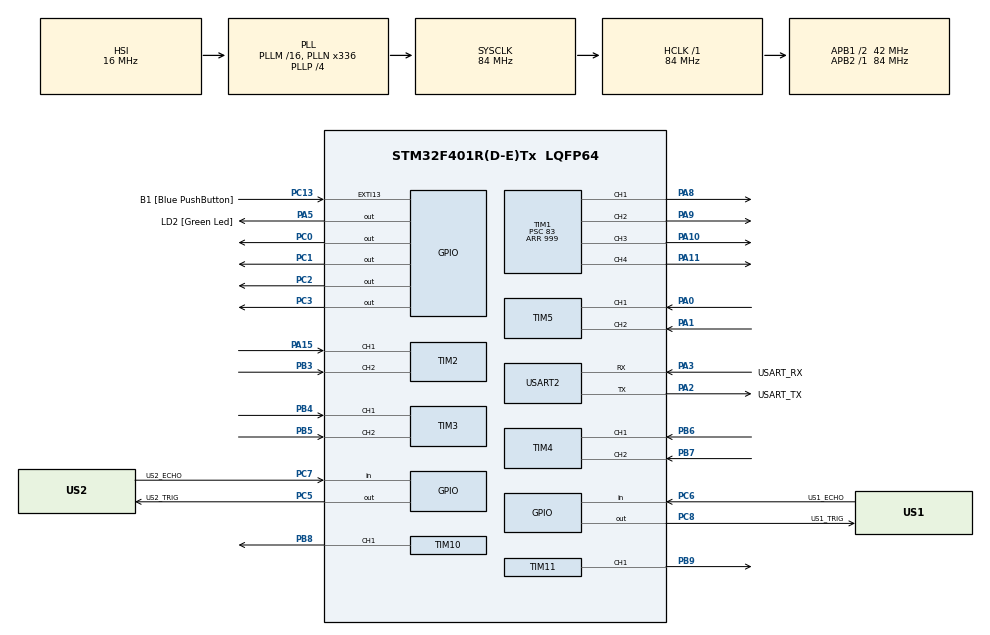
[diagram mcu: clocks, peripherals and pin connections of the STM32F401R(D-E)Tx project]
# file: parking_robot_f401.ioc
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Mcu.Family=STM32F4
Mcu.Name=STM32F401R(D-E)Tx
Mcu.Package=LQFP64
NVIC.PriorityGroup=NVIC_PRIORITYGROUP_4
PA0-WKUP.Signal=S_TIM5_CH1
PA1.Signal=S_TIM5_CH2
PA10.Signal=S_TIM1_CH3
PA11.Signal=S_TIM1_CH4
PA13.GPIO_Label=TMS
PA13.Mode=Serial_Wire
PA13.Signal=SYS_JTMS-SWDIO
PA14.GPIO_Label=TCK
PA14.Mode=Serial_Wire
PA14.Signal=SYS_JTCK-SWCLK
PA15.Signal=S_TIM2_CH1_ETR
PA2.GPIO_Label=USART_TX
PA2.GPIO_Mode=GPIO_MODE_AF_PP
PA2.GPIO_PuPd=GPIO_NOPULL
PA2.GPIO_Speed=GPIO_SPEED_FREQ_LOW
PA2.Mode=Asynchronous
PA2.Signal=USART2_TX
PA3.GPIO_Label=USART_RX
PA3.GPIO_Mode=GPIO_MODE_AF_PP
PA3.GPIO_PuPd=GPIO_NOPULL
PA3.GPIO_Speed=GPIO_SPEED_FREQ_LOW
PA3.Mode=Asynchronous
PA3.Signal=USART2_RX
PA5.GPIO_Label=LD2 [Green Led]
PA5.GPIO_Mode=GPIO_MODE_OUTPUT_PP
PA5.GPIO_PuPd=GPIO_NOPULL
PA5.GPIO_Speed=GPIO_SPEED_FREQ_LOW
PA5.Signal=GPIO_Output
PA8.Signal=S_TIM1_CH1
PA9.Signal=S_TIM1_CH2
PB3.Signal=S_TIM2_CH2
PB4.Signal=S_TIM3_CH1
PB5.Signal=S_TIM3_CH2
PB6.Signal=S_TIM4_CH1
PB7.Signal=S_TIM4_CH2
PB8.Signal=S_TIM10_CH1
PB9.Signal=S_TIM11_CH1
PC0.Signal=GPIO_Output
PC1.Signal=GPIO_Output
PC13-ANTI_TAMP.GPIO_Label=B1 [Blue PushButton]
PC13-ANTI_TAMP.GPIO_ModeDefaultEXTI=GPIO_MODE_IT_FALLING
PC13-ANTI_TAMP.GPIO_PuPd=GPIO_NOPULL
PC13-ANTI_TAMP.Signal=GPXTI13
PC14-OSC32_IN.Mode=LSE-External-Oscillator
PC14-OSC32_IN.Signal=RCC_OSC32_IN
PC15-OSC32_OUT.Mode=LSE-External-Oscillator
PC15-OSC32_OUT.Signal=RCC_OSC32_OUT
PC2.Signal=GPIO_Output
PC3.Signal=GPIO_Output
PC5.GPIO_Label=US2_TRIG
PC5.Signal=GPIO_Output
PC6.GPIO_Label=US1_ECHO
PC6.Signal=GPIO_Input
PC7.GPIO_Label=US2_ECHO
PC7.Signal=GPIO_Input
PC8.GPIO_Label=US1_TRIG
PC8.Signal=GPIO_Output
PH0\ -\ OSC_IN.Mode=HSE-External-Clock-Source
PH0\ -\ OSC_IN.Signal=RCC_OSC_IN
PH1\ -\ OSC_OUT.Mode=HSE-External-Clock-Source
PH1\ -\ OSC_OUT.Signal=RCC_OSC_OUT
ProjectManager.HeapSize=0x200
ProjectManager.StackSize=0x400
ProjectManager.TargetToolchain=CMake
RCC.48MHZClocksFreq_Value=48000000
RCC.AHBFreq_Value=84000000
RCC.APB1CLKDivider=RCC_HCLK_DIV2
RCC.APB1Freq_Value=42000000
RCC.APB1TimFreq_Value=84000000
RCC.APB2Freq_Value=84000000
RCC.APB2TimFreq_Value=84000000
RCC.CortexFreq_Value=84000000
RCC.HCLKFreq_Value=84000000
RCC.HSE_VALUE=8000000
RCC.HSI_VALUE=16000000
RCC.PLLN=336
RCC.PLLP=RCC_PLLP_DIV4
RCC.PLLQ=7
RCC.SYSCLKFreq_VALUE=84000000
RCC.SYSCLKSource=RCC_SYSCLKSOURCE_PLLCLK
RCC.VCOOutputFreq_Value=336000000
SH.S_TIM10_CH1.0=TIM10_CH1,PWM Generation1 CH1
SH.S_TIM11_CH1.0=TIM11_CH1,PWM Generation1 CH1
SH.S_TIM1_CH1.0=TIM1_CH1,PWM Generation1 CH1
SH.S_TIM1_CH2.0=TIM1_CH2,PWM Generation2 CH2
SH.S_TIM1_CH3.0=TIM1_CH3,PWM Generation3 CH3
SH.S_TIM1_CH4.0=TIM1_CH4,PWM Generation4 CH4
SH.S_TIM2_CH1_ETR.0=TIM2_CH1,Encoder_Interface
SH.S_TIM2_CH2.0=TIM2_CH2,Encoder_Interface
SH.S_TIM3_CH1.0=TIM3_CH1,Encoder_Interface
SH.S_TIM3_CH2.0=TIM3_CH2,Encoder_Interface
SH.S_TIM4_CH1.0=TIM4_CH1,Encoder_Interface
SH.S_TIM4_CH2.0=TIM4_CH2,Encoder_Interface
SH.S_TIM5_CH1.0=TIM5_CH1,Encoder_Interface
SH.S_TIM5_CH2.0=TIM5_CH2,Encoder_Interface
TIM1.Channel-PWM\ Generation1\ CH1=TIM_CHANNEL_1
TIM1.Channel-PWM\ Generation2\ CH2=TIM_CHANNEL_2
TIM1.Channel-PWM\ Generation3\ CH3=TIM_CHANNEL_3
TIM1.Channel-PWM\ Generation4\ CH4=TIM_CHANNEL_4
TIM1.Period=999
TIM1.Prescaler=83
TIM10.Channel=TIM_CHANNEL_1
TIM10.Period=19999
TIM10.Prescaler=83
TIM10.Pulse=1500
TIM11.Channel=TIM_CHANNEL_1
TIM11.Period=19999
TIM11.Prescaler=83
TIM11.Pulse=1500
TIM2.EncoderMode=TIM_ENCODERMODE_TI12
TIM2.IC1Filter=4
TIM2.IC2Filter=4
TIM3.EncoderMode=TIM_ENCODERMODE_TI12
TIM3.IC1Filter=4
TIM3.IC2Filter=4
TIM4.EncoderMode=TIM_ENCODERMODE_TI12
TIM4.IC1Filter=4
TIM4.IC2Filter=4
TIM5.EncoderMode=TIM_ENCODERMODE_TI12
TIM5.IC1Filter=4
TIM5.IC2Filter=4
USART2.VirtualMode=VM_ASYNC
VP_TIM10_VS_ClockSourceINT.Mode=Enable_Timer
VP_TIM11_VS_ClockSourceINT.Mode=Enable_Timer
VP_TIM1_VS_ClockSourceINT.Mode=Internal
board=NUCLEO-F401RE

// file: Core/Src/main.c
/* USER CODE BEGIN Header */
/**
  ******************************************************************************
  * @file           : main.c
  * @brief          : Main program body
  ******************************************************************************
  * @attention
  *
  * Copyright (c) 2026 STMicroelectronics.
  * All rights reserved.
  *
  * This software is licensed under terms that can be found in the LICENSE file
  * in the root directory of this software component.
  * If no LICENSE file comes with this software, it is provided AS-IS.
  *
  ******************************************************************************
  */
/* USER CODE END Header */
#include "main.h"

/* USER CODE BEGIN Includes */

#include <stdio.h>

/* USER CODE END Includes */

/* USER CODE BEGIN PD */

/*
 * Servo installation profile for the robot being built.
 * Set to 1 for the ArUco robot and 0 for the no-marker robot.
 */
#define ROBOT_HAS_ARUCO_MARKER       1U

#if ROBOT_HAS_ARUCO_MARKER
#define SERVO1_START_PULSE_US        2600U
#define SERVO2_START_PULSE_US        400U
#define SERVO1_MIN_PULSE_US          1550U
#define SERVO1_MAX_PULSE_US          2600U
#define SERVO2_MIN_PULSE_US          400U
#define SERVO2_MAX_PULSE_US          1450U
#else
#define SERVO1_START_PULSE_US        400U
#define SERVO2_START_PULSE_US        2600U
#define SERVO1_MIN_PULSE_US          400U
#define SERVO1_MAX_PULSE_US          1600U
#define SERVO2_MIN_PULSE_US          1400U
#define SERVO2_MAX_PULSE_US          2600U
#endif

/* USER CODE END PD */

TIM_HandleTypeDef htim1;
TIM_HandleTypeDef htim2;
TIM_HandleTypeDef htim3;
TIM_HandleTypeDef htim4;
TIM_HandleTypeDef htim5;
TIM_HandleTypeDef htim10;
TIM_HandleTypeDef htim11;

UART_HandleTypeDef huart2;

/* USER CODE BEGIN PV */
volatile uint16_t servo1_pulse_us = SERVO1_START_PULSE_US;
volatile uint16_t servo2_pulse_us = SERVO2_START_PULSE_US;
volatile uint16_t servo1_target_pulse_us = SERVO1_START_PULSE_US;
volatile uint16_t servo2_target_pulse_us = SERVO2_START_PULSE_US;
volatile int32_t encoder_live_counts[4] = {0, 0, 0, 0};
volatile int32_t wheel_encoder_delta[4] = {0, 0, 0, 0};
volatile int16_t wheel_command_rpm_x10[4] = {0, 0, 0, 0};
volatile int16_t wheel_target_rpm_x10[4] = {0, 0, 0, 0};
volatile int16_t wheel_measured_rpm_x10[4] = {0, 0, 0, 0};
volatile int16_t wheel_pwm_output[4] = {0, 0, 0, 0};
volatile int32_t ultrasonic_distance_mm[2] = {-1, -1};
volatile uint8_t drive_command = 'X';
volatile uint8_t drive_watchdog_stopped = 1U;

/* USER CODE END PV */

void SystemClock_Config(void);
static void MX_GPIO_Init(void);
static void MX_USART2_UART_Init(void);
static void MX_TIM1_Init(void);
static void MX_TIM2_Init(void);
static void MX_TIM10_Init(void);
static void MX_TIM5_Init(void);
static void MX_TIM3_Init(void);
static void MX_TIM4_Init(void);
static void MX_TIM11_Init(void);

/* USER CODE BEGIN 0 */

#define MOTOR_COUNT       4U
#define MOTOR_FL          0U
#define MOTOR_FR          1U
#define MOTOR_RL          2U
#define MOTOR_RR          3U
#define MOTOR_COMMAND_MAX            200
#define MOTOR_PWM_LIMIT              350
#define OPEN_LOOP_PWM                180
#define DRIVE_TIMEOUT_MS             250U
#define SPEED_CONTROL_PERIOD_MS      50U
#define TELEMETRY_PERIOD_MS          200U
#define ENCODER_COUNTS_PER_REV       5182L
#define MANUAL_TARGET_RPM_X10        120
#define PWM_FEEDFORWARD_AT_TARGET    200
#define SPEED_KP                     3
#define SPEED_KI_DIVISOR             32
#define SPEED_INTEGRAL_LIMIT         3200L
#define TARGET_RAMP_STEP_RPM_X10     10
#define SERVO_COMMAND_STEP_US        50
#define SERVO_RAMP_STEP_US           30U
#define SERVO_UPDATE_PERIOD_MS       20U
#define ULTRASONIC_MIN_INTERVAL_MS   60U
#define ULTRASONIC_TIMEOUT_US        30000U

/*
 * Logical order:
 *   0 = FL: TIM1_CH1, PC0, TIM5
 *   1 = FR: TIM1_CH2, PC1, TIM2
 *   2 = RL: TIM1_CH4, PC3, TIM3
 *   3 = RR: TIM1_CH3, PC2, TIM4
 */
static const uint32_t motor_pwm_channel[MOTOR_COUNT] =
{
  TIM_CHANNEL_1,
  TIM_CHANNEL_2,
  TIM_CHANNEL_4,
  TIM_CHANNEL_3
};

static const uint16_t motor_dir_pin[MOTOR_COUNT] =
{
  GPIO_PIN_0,
  GPIO_PIN_1,
  GPIO_PIN_3,
  GPIO_PIN_2
};

/*
 * Logical positive means that the wheel drives the robot forward.
 * Left and right motors are mirrored, so their raw DIR polarity is opposite.
 * This table is intentionally easy to adjust after the wheels are mounted.
 */
static const int8_t motor_forward_polarity[MOTOR_COUNT] =
{
   1,
  -1,
   1,
  -1
};

/* Encoder A/B polarity is independent from the motor output wiring. */
static const int8_t motor_encoder_polarity[MOTOR_COUNT] =
{
   1,
  -1,
   1,
  -1
};

static TIM_HandleTypeDef * const motor_encoder[MOTOR_COUNT] =
{
  &htim5,
  &htim2,
  &htim3,
  &htim4
};

static uint32_t encoder_previous_raw[MOTOR_COUNT] = {0U, 0U, 0U, 0U};
static int32_t speed_integral[MOTOR_COUNT] = {0, 0, 0, 0};
static uint8_t drive_open_loop_active = 0U;
static uint8_t servo1_active = 0U;
static uint8_t servo2_active = 0U;
static uint8_t ultrasonic_has_pinged = 0U;
static uint32_t last_ultrasonic_ping_ms = 0U;

static void MicrosecondTimer_Init(void)
{
  CoreDebug->DEMCR |= CoreDebug_DEMCR_TRCENA_Msk;
  DWT->CYCCNT = 0U;
  DWT->CTRL |= DWT_CTRL_CYCCNTENA_Msk;
}

static void Delay_Microseconds(uint32_t delay_us)
{
  uint32_t start_cycles = DWT->CYCCNT;
  uint32_t wait_cycles =
      delay_us * (SystemCoreClock / 1000000U);

  while ((uint32_t)(DWT->CYCCNT - start_cycles) < wait_cycles)
  {
  }
}

static uint8_t Ultrasonic_WaitForPin(uint16_t pin,
                                     GPIO_PinState state,
                                     uint32_t timeout_us)
{
  uint32_t start_cycles = DWT->CYCCNT;
  uint32_t timeout_cycles =
      timeout_us * (SystemCoreClock / 1000000U);

  while (HAL_GPIO_ReadPin(GPIOC, pin) != state)
  {
    if ((uint32_t)(DWT->CYCCNT - start_cycles) >= timeout_cycles)
    {
      return 0U;
    }
  }

  return 1U;
}

static void Ultrasonic_GPIO_Init(void)
{
  GPIO_InitTypeDef GPIO_InitStruct = {0};

  __HAL_RCC_GPIOC_CLK_ENABLE();

  HAL_GPIO_WritePin(GPIOC, GPIO_PIN_5 | GPIO_PIN_8, GPIO_PIN_RESET);

  GPIO_InitStruct.Pin = GPIO_PIN_5 | GPIO_PIN_8;
  GPIO_InitStruct.Mode = GPIO_MODE_OUTPUT_PP;
  GPIO_InitStruct.Pull = GPIO_NOPULL;
  GPIO_InitStruct.Speed = GPIO_SPEED_FREQ_LOW;
  HAL_GPIO_Init(GPIOC, &GPIO_InitStruct);

  GPIO_InitStruct.Pin = GPIO_PIN_6 | GPIO_PIN_7;
  GPIO_InitStruct.Mode = GPIO_MODE_INPUT;
  GPIO_InitStruct.Pull = GPIO_NOPULL;
  HAL_GPIO_Init(GPIOC, &GPIO_InitStruct);
}

static int32_t Ultrasonic_Measure(uint8_t sensor)
{
  uint16_t trig_pin = (sensor == 0U) ? GPIO_PIN_8 : GPIO_PIN_5;
  uint16_t echo_pin = (sensor == 0U) ? GPIO_PIN_6 : GPIO_PIN_7;
  uint32_t pulse_start;
  uint32_t pulse_cycles;
  uint32_t cycles_per_us = SystemCoreClock / 1000000U;
  uint32_t pulse_us;

  HAL_GPIO_WritePin(GPIOC, trig_pin, GPIO_PIN_RESET);
  if (Ultrasonic_WaitForPin(echo_pin, GPIO_PIN_RESET, 2000U) == 0U)
  {
    return -1;
  }

  Delay_Microseconds(3U);
  HAL_GPIO_WritePin(GPIOC, trig_pin, GPIO_PIN_SET);
  Delay_Microseconds(10U);
  HAL_GPIO_WritePin(GPIOC, trig_pin, GPIO_PIN_RESET);

  if (Ultrasonic_WaitForPin(echo_pin,
                            GPIO_PIN_SET,
                            ULTRASONIC_TIMEOUT_US) == 0U)
  {
    return -1;
  }

  pulse_start = DWT->CYCCNT;
  if (Ultrasonic_WaitForPin(echo_pin,
                            GPIO_PIN_RESET,
                            ULTRASONIC_TIMEOUT_US) == 0U)
  {
    return -1;
  }

  pulse_cycles = (uint32_t)(DWT->CYCCNT - pulse_start);
  pulse_us = pulse_cycles / cycles_per_us;

  return (int32_t)((pulse_us * 343U + 1000U) / 2000U);
}

static void Ultrasonic_RequestMeasurement(uint8_t sensor)
{
  uint32_t now_ms = HAL_GetTick();

  if ((ultrasonic_has_pinged == 0U) ||
      ((now_ms - last_ultrasonic_ping_ms) >=
       ULTRASONIC_MIN_INTERVAL_MS))
  {
    ultrasonic_distance_mm[sensor] = Ultrasonic_Measure(sensor);
    last_ultrasonic_ping_ms = HAL_GetTick();
    ultrasonic_has_pinged = 1U;
  }
}

static void Servo_Enable(uint8_t servo)
{
  if ((servo == 0U) && (servo1_active == 0U))
  {
    __HAL_TIM_SET_COMPARE(&htim10, TIM_CHANNEL_1, servo1_pulse_us);
    if (HAL_TIM_PWM_Start(&htim10, TIM_CHANNEL_1) != HAL_OK)
    {
      Error_Handler();
    }
    servo1_active = 1U;
  }
  else if ((servo == 1U) && (servo2_active == 0U))
  {
    __HAL_TIM_SET_COMPARE(&htim11, TIM_CHANNEL_1, servo2_pulse_us);
    if (HAL_TIM_PWM_Start(&htim11, TIM_CHANNEL_1) != HAL_OK)
    {
      Error_Handler();
    }
    servo2_active = 1U;
  }
}

static uint16_t Servo_ClampPulse(uint8_t servo, int32_t pulse_us)
{
  uint16_t min_pulse_us =
      (servo == 0U) ? SERVO1_MIN_PULSE_US : SERVO2_MIN_PULSE_US;
  uint16_t max_pulse_us =
      (servo == 0U) ? SERVO1_MAX_PULSE_US : SERVO2_MAX_PULSE_US;

  if (pulse_us < (int32_t)min_pulse_us)
  {
    return min_pulse_us;
  }

  if (pulse_us > (int32_t)max_pulse_us)
  {
    return max_pulse_us;
  }

  return (uint16_t)pulse_us;
}

static uint16_t Servo_RampPulse(uint16_t current, uint16_t target)
{
  uint32_t next = current;

  if (next < target)
  {
    next += SERVO_RAMP_STEP_US;
    if (next > target)
    {
      next = target;
    }
  }
  else if (next > target)
  {
    if (next > (target + SERVO_RAMP_STEP_US))
    {
      next -= SERVO_RAMP_STEP_US;
    }
    else
    {
      next = target;
    }
  }

  return (uint16_t)next;
}

static void Servo_StopMotion(void)
{
  servo1_target_pulse_us = servo1_pulse_us;
  servo2_target_pulse_us = servo2_pulse_us;
}

static void Servo_DisableAll(void)
{
  Servo_StopMotion();

  if (servo1_active != 0U)
  {
    (void)HAL_TIM_PWM_Stop(&htim10, TIM_CHANNEL_1);
    servo1_active = 0U;
  }

  if (servo2_active != 0U)
  {
    (void)HAL_TIM_PWM_Stop(&htim11, TIM_CHANNEL_1);
    servo2_active = 0U;
  }
}

static void Servo_Update(void)
{
  servo1_pulse_us =
      Servo_RampPulse(servo1_pulse_us, servo1_target_pulse_us);
  servo2_pulse_us =
      Servo_RampPulse(servo2_pulse_us, servo2_target_pulse_us);

  if (servo1_active != 0U)
  {
    __HAL_TIM_SET_COMPARE(&htim10, TIM_CHANNEL_1, servo1_pulse_us);
  }

  if (servo2_active != 0U)
  {
    __HAL_TIM_SET_COMPARE(&htim11, TIM_CHANNEL_1, servo2_pulse_us);
  }
}

static void Motor_SetRaw(uint8_t motor, GPIO_PinState direction, uint16_t pwm)
{
  HAL_GPIO_WritePin(GPIOC, motor_dir_pin[motor], direction);
  __HAL_TIM_SET_COMPARE(&htim1, motor_pwm_channel[motor], pwm);
}

static void Motor_StopAll(void)
{
  uint8_t motor;

  for (motor = 0U; motor < MOTOR_COUNT; motor++)
  {
    __HAL_TIM_SET_COMPARE(&htim1, motor_pwm_channel[motor], 0U);
  }
}

static uint32_t Encoder_ReadRaw(uint8_t motor)
{
  return __HAL_TIM_GET_COUNTER(motor_encoder[motor]);
}

static int32_t Encoder_GetDelta(uint8_t motor,
                                uint32_t current_raw,
                                uint32_t previous_raw)
{
  if ((motor == MOTOR_FL) || (motor == MOTOR_FR))
  {
    return (int32_t)(current_raw - previous_raw);
  }

  return (int32_t)(int16_t)((uint16_t)current_raw -
                            (uint16_t)previous_raw);
}

static void Motor_SetSigned(uint8_t motor, int32_t command)
{
  int32_t raw_command;
  uint16_t pwm;
  GPIO_PinState direction;

  if (command > MOTOR_PWM_LIMIT)
  {
    command = MOTOR_PWM_LIMIT;
  }
  else if (command < -MOTOR_PWM_LIMIT)
  {
    command = -MOTOR_PWM_LIMIT;
  }

  if (command == 0)
  {
    Motor_SetRaw(motor, GPIO_PIN_RESET, 0U);
    return;
  }

  raw_command = command * motor_forward_polarity[motor];
  direction = (raw_command > 0) ? GPIO_PIN_SET : GPIO_PIN_RESET;
  pwm = (uint16_t)((raw_command > 0) ? raw_command : -raw_command);
  Motor_SetRaw(motor, direction, pwm);
}

static void SpeedControl_Stop(void)
{
  uint8_t motor;

  drive_open_loop_active = 0U;

  for (motor = 0U; motor < MOTOR_COUNT; motor++)
  {
    wheel_command_rpm_x10[motor] = 0;
    wheel_target_rpm_x10[motor] = 0;
    wheel_pwm_output[motor] = 0;
    speed_integral[motor] = 0;
  }

  Motor_StopAll();
}

static int16_t SpeedControl_RampTarget(int16_t current, int16_t requested)
{
  int32_t next = current;

  if (next < requested)
  {
    next += TARGET_RAMP_STEP_RPM_X10;
    if (next > requested)
    {
      next = requested;
    }
  }
  else if (next > requested)
  {
    next -= TARGET_RAMP_STEP_RPM_X10;
    if (next < requested)
    {
      next = requested;
    }
  }

  return (int16_t)next;
}

static void SpeedControl_Update(uint32_t elapsed_ms)
{
  uint8_t motor;
  uint32_t current_raw;
  int32_t raw_delta;
  int32_t logical_delta;
  int32_t target_delta;
  int32_t error;
  int32_t feedforward;
  int32_t output;

  if (elapsed_ms == 0U)
  {
    return;
  }

  for (motor = 0U; motor < MOTOR_COUNT; motor++)
  {
    wheel_target_rpm_x10[motor] =
        SpeedControl_RampTarget(wheel_target_rpm_x10[motor],
                                wheel_command_rpm_x10[motor]);

    current_raw = Encoder_ReadRaw(motor);
    raw_delta = Encoder_GetDelta(motor,
                                 current_raw,
                                 encoder_previous_raw[motor]);
    encoder_previous_raw[motor] = current_raw;

    logical_delta = raw_delta * motor_encoder_polarity[motor];
    wheel_encoder_delta[motor] = logical_delta;
    encoder_live_counts[motor] += logical_delta;
    wheel_measured_rpm_x10[motor] =
        (int16_t)((logical_delta * 600000L) /
                  (ENCODER_COUNTS_PER_REV * (int32_t)elapsed_ms));

    /* Keep encoder telemetry active without letting PI overwrite raw PWM. */
    if (drive_open_loop_active != 0U)
    {
      continue;
    }

    if (wheel_target_rpm_x10[motor] == 0)
    {
      speed_integral[motor] = 0;
      wheel_pwm_output[motor] = 0;
      Motor_SetSigned(motor, 0);
      continue;
    }

    target_delta =
        ((int32_t)wheel_target_rpm_x10[motor] *
         ENCODER_COUNTS_PER_REV *
         (int32_t)elapsed_ms) /
        600000L;
    error = target_delta - logical_delta;

    speed_integral[motor] += error;
    if (speed_integral[motor] > SPEED_INTEGRAL_LIMIT)
    {
      speed_integral[motor] = SPEED_INTEGRAL_LIMIT;
    }
    else if (speed_integral[motor] < -SPEED_INTEGRAL_LIMIT)
    {
      speed_integral[motor] = -SPEED_INTEGRAL_LIMIT;
    }

    feedforward =
        ((int32_t)wheel_target_rpm_x10[motor] *
         PWM_FEEDFORWARD_AT_TARGET) /
        MANUAL_TARGET_RPM_X10;
    output = feedforward +
             (SPEED_KP * error) +
             (speed_integral[motor] / SPEED_KI_DIVISOR);

    if (output > MOTOR_PWM_LIMIT)
    {
      output = MOTOR_PWM_LIMIT;
    }
    else if (output < -MOTOR_PWM_LIMIT)
    {
      output = -MOTOR_PWM_LIMIT;
    }

    wheel_pwm_output[motor] = (int16_t)output;
    Motor_SetSigned(motor, output);
  }
}

static void Drive_SetVector(int32_t forward, int32_t right, int32_t clockwise)
{
  int32_t wheel[MOTOR_COUNT];
  int32_t new_target;
  int32_t max_magnitude = 0;
  int32_t magnitude;
  uint8_t motor;

  /*
   * Mecanum X-layout mixer.
   * Positive forward: robot forward
   * Positive right:   robot moves right
   * Positive turn:    robot rotates clockwise
   */
  wheel[MOTOR_FL] = forward + right + clockwise;
  wheel[MOTOR_FR] = forward - right - clockwise;
  wheel[MOTOR_RL] = forward - right + clockwise;
  wheel[MOTOR_RR] = forward + right - clockwise;

  for (motor = 0U; motor < MOTOR_COUNT; motor++)
  {
    magnitude = (wheel[motor] >= 0) ? wheel[motor] : -wheel[motor];
    if (magnitude > max_magnitude)
    {
      max_magnitude = magnitude;
    }
  }

  if (max_magnitude > MOTOR_COMMAND_MAX)
  {
    for (motor = 0U; motor < MOTOR_COUNT; motor++)
    {
      wheel[motor] = (wheel[motor] * MOTOR_COMMAND_MAX) / max_magnitude;
    }
  }

  for (motor = 0U; motor < MOTOR_COUNT; motor++)
  {
    new_target =
        (wheel[motor] * MANUAL_TARGET_RPM_X10) / MOTOR_COMMAND_MAX;
    if (wheel_command_rpm_x10[motor] != new_target)
    {
      speed_integral[motor] = 0;
    }
    wheel_command_rpm_x10[motor] = (int16_t)new_target;
  }
}

static void Drive_SetOpenLoopVector(int32_t forward,
                                    int32_t right,
                                    int32_t clockwise)
{
  int32_t wheel[MOTOR_COUNT];
  int32_t command;
  uint8_t motor;

  wheel[MOTOR_FL] = forward + right + clockwise;
  wheel[MOTOR_FR] = forward - right - clockwise;
  wheel[MOTOR_RL] = forward - right + clockwise;
  wheel[MOTOR_RR] = forward + right - clockwise;

  drive_open_loop_active = 1U;

  for (motor = 0U; motor < MOTOR_COUNT; motor++)
  {
    wheel_command_rpm_x10[motor] = 0;
    wheel_target_rpm_x10[motor] = 0;
    speed_integral[motor] = 0;

    if (wheel[motor] > 0)
    {
      command = OPEN_LOOP_PWM;
    }
    else if (wheel[motor] < 0)
    {
      command = -OPEN_LOOP_PWM;
    }
    else
    {
      command = 0;
    }

    wheel_pwm_output[motor] = (int16_t)command;
    Motor_SetSigned(motor, command);
  }
}

static uint8_t Drive_ApplyCommand(uint8_t command)
{
  switch (command)
  {
    case 'W':
      Servo_StopMotion();
      drive_open_loop_active = 0U;
      Drive_SetVector(MOTOR_COMMAND_MAX, 0, 0);
      return 'W';

    case 'w':
      Servo_StopMotion();
      Drive_SetOpenLoopVector(MOTOR_COMMAND_MAX, 0, 0);
      return 'w';

    case 'S':
      Servo_StopMotion();
      drive_open_loop_active = 0U;
      Drive_SetVector(-MOTOR_COMMAND_MAX, 0, 0);
      return 'S';

    case 's':
      Servo_StopMotion();
      Drive_SetOpenLoopVector(-MOTOR_COMMAND_MAX, 0, 0);
      return 's';

    case 'A':
      Servo_StopMotion();
      drive_open_loop_active = 0U;
      Drive_SetVector(0, -MOTOR_COMMAND_MAX, 0);
      return 'A';

    case 'a':
      Servo_StopMotion();
      Drive_SetOpenLoopVector(0, -MOTOR_COMMAND_MAX, 0);
      return 'a';

    case 'D':
      Servo_StopMotion();
      drive_open_loop_active = 0U;
      Drive_SetVector(0, MOTOR_COMMAND_MAX, 0);
      return 'D';

    case 'd':
      Servo_StopMotion();
      Drive_SetOpenLoopVector(0, MOTOR_COMMAND_MAX, 0);
      return 'd';

    case 'Q':
      Servo_StopMotion();
      drive_open_loop_active = 0U;
      Drive_SetVector(0, 0, -MOTOR_COMMAND_MAX);
      return 'Q';

    case 'q':
      Servo_StopMotion();
      Drive_SetOpenLoopVector(0, 0, -MOTOR_COMMAND_MAX);
      return 'q';

    case 'E':
      Servo_StopMotion();
      drive_open_loop_active = 0U;
      Drive_SetVector(0, 0, MOTOR_COMMAND_MAX);
      return 'E';

    case 'e':
      Servo_StopMotion();
      Drive_SetOpenLoopVector(0, 0, MOTOR_COMMAND_MAX);
      return 'e';

    case 'U':
    case 'u':
      SpeedControl_Stop();
      Servo_Enable(0U);
      servo1_target_pulse_us =
          Servo_ClampPulse(0U, (int32_t)servo1_target_pulse_us +
                           SERVO_COMMAND_STEP_US);
      return 'U';

    case 'J':
    case 'j':
      SpeedControl_Stop();
      Servo_Enable(0U);
      servo1_target_pulse_us =
          Servo_ClampPulse(0U, (int32_t)servo1_target_pulse_us -
                           SERVO_COMMAND_STEP_US);
      return 'J';

    case 'I':
    case 'i':
      SpeedControl_Stop();
      Servo_Enable(1U);
      servo2_target_pulse_us =
          Servo_ClampPulse(1U, (int32_t)servo2_target_pulse_us +
                           SERVO_COMMAND_STEP_US);
      return 'I';

    case 'K':
    case 'k':
      SpeedControl_Stop();
      Servo_Enable(1U);
      servo2_target_pulse_us =
          Servo_ClampPulse(1U, (int32_t)servo2_target_pulse_us -
                           SERVO_COMMAND_STEP_US);
      return 'K';

    case 'T':
    case 't':
      SpeedControl_Stop();
      Servo_Enable(0U);
      Servo_Enable(1U);
#if ROBOT_HAS_ARUCO_MARKER
      servo1_target_pulse_us =
          Servo_ClampPulse(0U, (int32_t)servo1_target_pulse_us -
                           SERVO_COMMAND_STEP_US);
      servo2_target_pulse_us =
          Servo_ClampPulse(1U, (int32_t)servo2_target_pulse_us +
                           SERVO_COMMAND_STEP_US);
#else
      servo1_target_pulse_us =
          Servo_ClampPulse(0U, (int32_t)servo1_target_pulse_us +
                           SERVO_COMMAND_STEP_US);
      servo2_target_pulse_us =
          Servo_ClampPulse(1U, (int32_t)servo2_target_pulse_us -
                           SERVO_COMMAND_STEP_US);
#endif
      return 'T';

    case 'G':
    case 'g':
      SpeedControl_Stop();
      Servo_Enable(0U);
      Servo_Enable(1U);
#if ROBOT_HAS_ARUCO_MARKER
      servo1_target_pulse_us =
          Servo_ClampPulse(0U, (int32_t)servo1_target_pulse_us +
                           SERVO_COMMAND_STEP_US);
      servo2_target_pulse_us =
          Servo_ClampPulse(1U, (int32_t)servo2_target_pulse_us -
                           SERVO_COMMAND_STEP_US);
#else
      servo1_target_pulse_us =
          Servo_ClampPulse(0U, (int32_t)servo1_target_pulse_us -
                           SERVO_COMMAND_STEP_US);
      servo2_target_pulse_us =
          Servo_ClampPulse(1U, (int32_t)servo2_target_pulse_us +
                           SERVO_COMMAND_STEP_US);
#endif
      return 'G';

    case 'O':
    case 'o':
      SpeedControl_Stop();
      Servo_DisableAll();
      return 'O';

    case '1':
      SpeedControl_Stop();
      Servo_StopMotion();
      Ultrasonic_RequestMeasurement(0U);
      return '1';

    case '2':
      SpeedControl_Stop();
      Servo_StopMotion();
      Ultrasonic_RequestMeasurement(1U);
      return '2';

    case 'X':
    case 'x':
    case ' ':
      SpeedControl_Stop();
      Servo_StopMotion();
      return 'X';

    default:
      return 0U;
  }
}

static uint8_t Command_IsDriveMotion(uint8_t command)
{
  return ((command == 'W') ||
          (command == 'S') ||
          (command == 'A') ||
          (command == 'D') ||
          (command == 'Q') ||
          (command == 'E') ||
          (command == 'w') ||
          (command == 's') ||
          (command == 'a') ||
          (command == 'd') ||
          (command == 'q') ||
          (command == 'e')) ? 1U : 0U;
}

/* USER CODE END 0 */

int main(void)
{

  /* MCU Configuration--------------------------------------------------------*/

  /* Reset of all peripherals, Initializes the Flash interface and the Systick. */
  HAL_Init();

  /* Configure the system clock */
  SystemClock_Config();

  /* Initialize all configured peripherals */
  MX_GPIO_Init();
  MX_USART2_UART_Init();
  MX_TIM1_Init();
  MX_TIM2_Init();
  MX_TIM10_Init();
  MX_TIM5_Init();
  MX_TIM3_Init();
  MX_TIM4_Init();
  MX_TIM11_Init();
  /* USER CODE BEGIN 2 */
  uint8_t motor;
  uint8_t rx_byte;
  uint8_t accepted_command;
  uint32_t now_ms;
  uint32_t last_command_ms;
  uint32_t last_control_ms;
  uint32_t last_servo_update_ms;
  uint32_t last_telemetry_ms;
  uint32_t control_elapsed_ms;
  char telemetry[128];
  int telemetry_length;

  if ((HAL_TIM_Encoder_Start(&htim2, TIM_CHANNEL_ALL) != HAL_OK) ||
      (HAL_TIM_Encoder_Start(&htim3, TIM_CHANNEL_ALL) != HAL_OK) ||
      (HAL_TIM_Encoder_Start(&htim4, TIM_CHANNEL_ALL) != HAL_OK) ||
      (HAL_TIM_Encoder_Start(&htim5, TIM_CHANNEL_ALL) != HAL_OK))
  {
    Error_Handler();
  }

  if ((HAL_TIM_PWM_Start(&htim1, TIM_CHANNEL_1) != HAL_OK) ||
      (HAL_TIM_PWM_Start(&htim1, TIM_CHANNEL_2) != HAL_OK) ||
      (HAL_TIM_PWM_Start(&htim1, TIM_CHANNEL_3) != HAL_OK) ||
      (HAL_TIM_PWM_Start(&htim1, TIM_CHANNEL_4) != HAL_OK))
  {
    Error_Handler();
  }

  MicrosecondTimer_Init();
  Ultrasonic_GPIO_Init();

  Motor_StopAll();
  HAL_GPIO_WritePin(GPIOC,
                    GPIO_PIN_0 | GPIO_PIN_1 | GPIO_PIN_2 | GPIO_PIN_3,
                    GPIO_PIN_RESET);
  HAL_GPIO_WritePin(LD2_GPIO_Port, LD2_Pin, GPIO_PIN_RESET);

  for (motor = 0U; motor < MOTOR_COUNT; motor++)
  {
    __HAL_TIM_SET_COUNTER(motor_encoder[motor], 0U);
    encoder_previous_raw[motor] = Encoder_ReadRaw(motor);
  }

  now_ms = HAL_GetTick();
  last_command_ms = now_ms;
  last_control_ms = now_ms;
  last_servo_update_ms = now_ms;
  last_telemetry_ms = now_ms;

  /* USER CODE END 2 */

  /* Infinite loop */
  /* USER CODE BEGIN WHILE */
  while (1)
  {
    now_ms = HAL_GetTick();

    if (HAL_UART_Receive(&huart2, &rx_byte, 1U, 1U) == HAL_OK)
    {
      accepted_command = Drive_ApplyCommand(rx_byte);
      if (accepted_command != 0U)
      {
        drive_command = accepted_command;
        last_command_ms = now_ms;
        drive_watchdog_stopped =
            (Command_IsDriveMotion(accepted_command) != 0U) ? 0U : 1U;
        HAL_GPIO_WritePin(LD2_GPIO_Port,
                          LD2_Pin,
                          (Command_IsDriveMotion(accepted_command) != 0U) ?
                              GPIO_PIN_SET : GPIO_PIN_RESET);
      }
    }

    if ((drive_watchdog_stopped == 0U) &&
        ((now_ms - last_command_ms) > DRIVE_TIMEOUT_MS))
    {
      SpeedControl_Stop();
      drive_command = 'X';
      drive_watchdog_stopped = 1U;
      HAL_GPIO_WritePin(LD2_GPIO_Port, LD2_Pin, GPIO_PIN_RESET);
    }

    control_elapsed_ms = now_ms - last_control_ms;
    if (control_elapsed_ms >= SPEED_CONTROL_PERIOD_MS)
    {
      last_control_ms = now_ms;
      SpeedControl_Update(control_elapsed_ms);
    }

    if ((now_ms - last_servo_update_ms) >= SERVO_UPDATE_PERIOD_MS)
    {
      last_servo_update_ms = now_ms;
      Servo_Update();
    }

    if ((now_ms - last_telemetry_ms) >= TELEMETRY_PERIOD_MS)
    {
      last_telemetry_ms = now_ms;
      telemetry_length = snprintf(
          telemetry,
          sizeof(telemetry),
          "T,%c,%d,%d,%d,%d,%d,%d,%d,%d,%u,%u,%ld,%ld\r\n",
          (char)drive_command,
          (int)wheel_measured_rpm_x10[MOTOR_FL],
          (int)wheel_measured_rpm_x10[MOTOR_FR],
          (int)wheel_measured_rpm_x10[MOTOR_RL],
          (int)wheel_measured_rpm_x10[MOTOR_RR],
          (int)wheel_pwm_output[MOTOR_FL],
          (int)wheel_pwm_output[MOTOR_FR],
          (int)wheel_pwm_output[MOTOR_RL],
          (int)wheel_pwm_output[MOTOR_RR],
          (unsigned int)servo1_pulse_us,
          (unsigned int)servo2_pulse_us,
          (long)ultrasonic_distance_mm[0],
          (long)ultrasonic_distance_mm[1]);

      if (telemetry_length > 0)
      {
        HAL_UART_Transmit(&huart2,
                          (uint8_t *)telemetry,
                          (uint16_t)telemetry_length,
                          20U);
      }
    }

    HAL_Delay(5);

    /* USER CODE END WHILE */

  }
}

void SystemClock_Config(void)
{
  RCC_OscInitTypeDef RCC_OscInitStruct = {0};
  RCC_ClkInitTypeDef RCC_ClkInitStruct = {0};

  /** Configure the main internal regulator output voltage
  */
  __HAL_RCC_PWR_CLK_ENABLE();
  __HAL_PWR_VOLTAGESCALING_CONFIG(PWR_REGULATOR_VOLTAGE_SCALE2);

  /** Initializes the RCC Oscillators according to the specified parameters
  * in the RCC_OscInitTypeDef structure.
  */
  RCC_OscInitStruct.OscillatorType = RCC_OSCILLATORTYPE_HSI;
  RCC_OscInitStruct.HSIState = RCC_HSI_ON;
  RCC_OscInitStruct.HSICalibrationValue = RCC_HSICALIBRATION_DEFAULT;
  RCC_OscInitStruct.PLL.PLLState = RCC_PLL_ON;
  RCC_OscInitStruct.PLL.PLLSource = RCC_PLLSOURCE_HSI;
  RCC_OscInitStruct.PLL.PLLM = 16;
  RCC_OscInitStruct.PLL.PLLN = 336;
  RCC_OscInitStruct.PLL.PLLP = RCC_PLLP_DIV4;
  RCC_OscInitStruct.PLL.PLLQ = 7;
  if (HAL_RCC_OscConfig(&RCC_OscInitStruct) != HAL_OK)
  {
    Error_Handler();
  }

  /** Initializes the CPU, AHB and APB buses clocks
  */
  RCC_ClkInitStruct.ClockType = RCC_CLOCKTYPE_HCLK|RCC_CLOCKTYPE_SYSCLK
                              |RCC_CLOCKTYPE_PCLK1|RCC_CLOCKTYPE_PCLK2;
  RCC_ClkInitStruct.SYSCLKSource = RCC_SYSCLKSOURCE_PLLCLK;
  RCC_ClkInitStruct.AHBCLKDivider = RCC_SYSCLK_DIV1;
  RCC_ClkInitStruct.APB1CLKDivider = RCC_HCLK_DIV2;
  RCC_ClkInitStruct.APB2CLKDivider = RCC_HCLK_DIV1;

  if (HAL_RCC_ClockConfig(&RCC_ClkInitStruct, FLASH_LATENCY_2) != HAL_OK)
  {
    Error_Handler();
  }
}

static void MX_TIM1_Init(void)
{

  TIM_ClockConfigTypeDef sClockSourceConfig = {0};
  TIM_MasterConfigTypeDef sMasterConfig = {0};
  TIM_OC_InitTypeDef sConfigOC = {0};
  TIM_BreakDeadTimeConfigTypeDef sBreakDeadTimeConfig = {0};

  htim1.Instance = TIM1;
  htim1.Init.Prescaler = 83;
  htim1.Init.CounterMode = TIM_COUNTERMODE_UP;
  htim1.Init.Period = 999;
  htim1.Init.ClockDivision = TIM_CLOCKDIVISION_DIV1;
  htim1.Init.RepetitionCounter = 0;
  htim1.Init.AutoReloadPreload = TIM_AUTORELOAD_PRELOAD_DISABLE;
  if (HAL_TIM_Base_Init(&htim1) != HAL_OK)
  {
    Error_Handler();
  }
  sClockSourceConfig.ClockSource = TIM_CLOCKSOURCE_INTERNAL;
  if (HAL_TIM_ConfigClockSource(&htim1, &sClockSourceConfig) != HAL_OK)
  {
    Error_Handler();
  }
  if (HAL_TIM_PWM_Init(&htim1) != HAL_OK)
  {
    Error_Handler();
  }
  sMasterConfig.MasterOutputTrigger = TIM_TRGO_RESET;
  sMasterConfig.MasterSlaveMode = TIM_MASTERSLAVEMODE_DISABLE;
  if (HAL_TIMEx_MasterConfigSynchronization(&htim1, &sMasterConfig) != HAL_OK)
  {
    Error_Handler();
  }
  sConfigOC.OCMode = TIM_OCMODE_PWM1;
  sConfigOC.Pulse = 0;
  sConfigOC.OCPolarity = TIM_OCPOLARITY_HIGH;
  sConfigOC.OCNPolarity = TIM_OCNPOLARITY_HIGH;
  sConfigOC.OCFastMode = TIM_OCFAST_DISABLE;
  sConfigOC.OCIdleState = TIM_OCIDLESTATE_RESET;
  sConfigOC.OCNIdleState = TIM_OCNIDLESTATE_RESET;
  if (HAL_TIM_PWM_ConfigChannel(&htim1, &sConfigOC, TIM_CHANNEL_1) != HAL_OK)
  {
    Error_Handler();
  }
  if (HAL_TIM_PWM_ConfigChannel(&htim1, &sConfigOC, TIM_CHANNEL_2) != HAL_OK)
  {
    Error_Handler();
  }
  if (HAL_TIM_PWM_ConfigChannel(&htim1, &sConfigOC, TIM_CHANNEL_3) != HAL_OK)
  {
    Error_Handler();
  }
  if (HAL_TIM_PWM_ConfigChannel(&htim1, &sConfigOC, TIM_CHANNEL_4) != HAL_OK)
  {
    Error_Handler();
  }
  sBreakDeadTimeConfig.OffStateRunMode = TIM_OSSR_DISABLE;
  sBreakDeadTimeConfig.OffStateIDLEMode = TIM_OSSI_DISABLE;
  sBreakDeadTimeConfig.LockLevel = TIM_LOCKLEVEL_OFF;
  sBreakDeadTimeConfig.DeadTime = 0;
  sBreakDeadTimeConfig.BreakState = TIM_BREAK_DISABLE;
  sBreakDeadTimeConfig.BreakPolarity = TIM_BREAKPOLARITY_HIGH;
  sBreakDeadTimeConfig.AutomaticOutput = TIM_AUTOMATICOUTPUT_DISABLE;
  if (HAL_TIMEx_ConfigBreakDeadTime(&htim1, &sBreakDeadTimeConfig) != HAL_OK)
  {
    Error_Handler();
  }
  HAL_TIM_MspPostInit(&htim1);

}

static void MX_TIM2_Init(void)
{

  TIM_Encoder_InitTypeDef sConfig = {0};
  TIM_MasterConfigTypeDef sMasterConfig = {0};

  htim2.Instance = TIM2;
  htim2.Init.Prescaler = 0;
  htim2.Init.CounterMode = TIM_COUNTERMODE_UP;
  htim2.Init.Period = 4294967295;
  htim2.Init.ClockDivision = TIM_CLOCKDIVISION_DIV1;
  htim2.Init.AutoReloadPreload = TIM_AUTORELOAD_PRELOAD_DISABLE;
  sConfig.EncoderMode = TIM_ENCODERMODE_TI12;
  sConfig.IC1Polarity = TIM_ICPOLARITY_RISING;
  sConfig.IC1Selection = TIM_ICSELECTION_DIRECTTI;
  sConfig.IC1Prescaler = TIM_ICPSC_DIV1;
  sConfig.IC1Filter = 4;
  sConfig.IC2Polarity = TIM_ICPOLARITY_RISING;
  sConfig.IC2Selection = TIM_ICSELECTION_DIRECTTI;
  sConfig.IC2Prescaler = TIM_ICPSC_DIV1;
  sConfig.IC2Filter = 4;
  if (HAL_TIM_Encoder_Init(&htim2, &sConfig) != HAL_OK)
  {
    Error_Handler();
  }
  sMasterConfig.MasterOutputTrigger = TIM_TRGO_RESET;
  sMasterConfig.MasterSlaveMode = TIM_MASTERSLAVEMODE_DISABLE;
  if (HAL_TIMEx_MasterConfigSynchronization(&htim2, &sMasterConfig) != HAL_OK)
  {
    Error_Handler();
  }

}

static void MX_TIM3_Init(void)
{

  TIM_Encoder_InitTypeDef sConfig = {0};
  TIM_MasterConfigTypeDef sMasterConfig = {0};

  htim3.Instance = TIM3;
  htim3.Init.Prescaler = 0;
  htim3.Init.CounterMode = TIM_COUNTERMODE_UP;
  htim3.Init.Period = 65535;
  htim3.Init.ClockDivision = TIM_CLOCKDIVISION_DIV1;
  htim3.Init.AutoReloadPreload = TIM_AUTORELOAD_PRELOAD_DISABLE;
  sConfig.EncoderMode = TIM_ENCODERMODE_TI12;
  sConfig.IC1Polarity = TIM_ICPOLARITY_RISING;
  sConfig.IC1Selection = TIM_ICSELECTION_DIRECTTI;
  sConfig.IC1Prescaler = TIM_ICPSC_DIV1;
  sConfig.IC1Filter = 4;
  sConfig.IC2Polarity = TIM_ICPOLARITY_RISING;
  sConfig.IC2Selection = TIM_ICSELECTION_DIRECTTI;
  sConfig.IC2Prescaler = TIM_ICPSC_DIV1;
  sConfig.IC2Filter = 4;
  if (HAL_TIM_Encoder_Init(&htim3, &sConfig) != HAL_OK)
  {
    Error_Handler();
  }
  sMasterConfig.MasterOutputTrigger = TIM_TRGO_RESET;
  sMasterConfig.MasterSlaveMode = TIM_MASTERSLAVEMODE_DISABLE;
  if (HAL_TIMEx_MasterConfigSynchronization(&htim3, &sMasterConfig) != HAL_OK)
  {
    Error_Handler();
  }

}

static void MX_TIM4_Init(void)
{

  TIM_Encoder_InitTypeDef sConfig = {0};
  TIM_MasterConfigTypeDef sMasterConfig = {0};

  htim4.Instance = TIM4;
  htim4.Init.Prescaler = 0;
  htim4.Init.CounterMode = TIM_COUNTERMODE_UP;
  htim4.Init.Period = 65535;
  htim4.Init.ClockDivision = TIM_CLOCKDIVISION_DIV1;
  htim4.Init.AutoReloadPreload = TIM_AUTORELOAD_PRELOAD_DISABLE;
  sConfig.EncoderMode = TIM_ENCODERMODE_TI12;
  sConfig.IC1Polarity = TIM_ICPOLARITY_RISING;
  sConfig.IC1Selection = TIM_ICSELECTION_DIRECTTI;
  sConfig.IC1Prescaler = TIM_ICPSC_DIV1;
  sConfig.IC1Filter = 4;
  sConfig.IC2Polarity = TIM_ICPOLARITY_RISING;
  sConfig.IC2Selection = TIM_ICSELECTION_DIRECTTI;
  sConfig.IC2Prescaler = TIM_ICPSC_DIV1;
  sConfig.IC2Filter = 4;
  if (HAL_TIM_Encoder_Init(&htim4, &sConfig) != HAL_OK)
  {
    Error_Handler();
  }
  sMasterConfig.MasterOutputTrigger = TIM_TRGO_RESET;
  sMasterConfig.MasterSlaveMode = TIM_MASTERSLAVEMODE_DISABLE;
  if (HAL_TIMEx_MasterConfigSynchronization(&htim4, &sMasterConfig) != HAL_OK)
  {
    Error_Handler();
  }

}

static void MX_TIM5_Init(void)
{

  TIM_Encoder_InitTypeDef sConfig = {0};
  TIM_MasterConfigTypeDef sMasterConfig = {0};

  htim5.Instance = TIM5;
  htim5.Init.Prescaler = 0;
  htim5.Init.CounterMode = TIM_COUNTERMODE_UP;
  htim5.Init.Period = 4294967295;
  htim5.Init.ClockDivision = TIM_CLOCKDIVISION_DIV1;
  htim5.Init.AutoReloadPreload = TIM_AUTORELOAD_PRELOAD_DISABLE;
  sConfig.EncoderMode = TIM_ENCODERMODE_TI12;
  sConfig.IC1Polarity = TIM_ICPOLARITY_RISING;
  sConfig.IC1Selection = TIM_ICSELECTION_DIRECTTI;
  sConfig.IC1Prescaler = TIM_ICPSC_DIV1;
  sConfig.IC1Filter = 4;
  sConfig.IC2Polarity = TIM_ICPOLARITY_RISING;
  sConfig.IC2Selection = TIM_ICSELECTION_DIRECTTI;
  sConfig.IC2Prescaler = TIM_ICPSC_DIV1;
  sConfig.IC2Filter = 4;
  if (HAL_TIM_Encoder_Init(&htim5, &sConfig) != HAL_OK)
  {
    Error_Handler();
  }
  sMasterConfig.MasterOutputTrigger = TIM_TRGO_RESET;
  sMasterConfig.MasterSlaveMode = TIM_MASTERSLAVEMODE_DISABLE;
  if (HAL_TIMEx_MasterConfigSynchronization(&htim5, &sMasterConfig) != HAL_OK)
  {
    Error_Handler();
  }

}

static void MX_TIM10_Init(void)
{

  TIM_OC_InitTypeDef sConfigOC = {0};

  htim10.Instance = TIM10;
  htim10.Init.Prescaler = 83;
  htim10.Init.CounterMode = TIM_COUNTERMODE_UP;
  htim10.Init.Period = 19999;
  htim10.Init.ClockDivision = TIM_CLOCKDIVISION_DIV1;
  htim10.Init.AutoReloadPreload = TIM_AUTORELOAD_PRELOAD_DISABLE;
  if (HAL_TIM_Base_Init(&htim10) != HAL_OK)
  {
    Error_Handler();
  }
  if (HAL_TIM_PWM_Init(&htim10) != HAL_OK)
  {
    Error_Handler();
  }
  sConfigOC.OCMode = TIM_OCMODE_PWM1;
  sConfigOC.Pulse = 1500;
  sConfigOC.OCPolarity = TIM_OCPOLARITY_HIGH;
  sConfigOC.OCFastMode = TIM_OCFAST_DISABLE;
  if (HAL_TIM_PWM_ConfigChannel(&htim10, &sConfigOC, TIM_CHANNEL_1) != HAL_OK)
  {
    Error_Handler();
  }
  HAL_TIM_MspPostInit(&htim10);

}

static void MX_TIM11_Init(void)
{

  TIM_OC_InitTypeDef sConfigOC = {0};

  htim11.Instance = TIM11;
  htim11.Init.Prescaler = 83;
  htim11.Init.CounterMode = TIM_COUNTERMODE_UP;
  htim11.Init.Period = 19999;
  htim11.Init.ClockDivision = TIM_CLOCKDIVISION_DIV1;
  htim11.Init.AutoReloadPreload = TIM_AUTORELOAD_PRELOAD_DISABLE;
  if (HAL_TIM_Base_Init(&htim11) != HAL_OK)
  {
    Error_Handler();
  }
  if (HAL_TIM_PWM_Init(&htim11) != HAL_OK)
  {
    Error_Handler();
  }
  sConfigOC.OCMode = TIM_OCMODE_PWM1;
  sConfigOC.Pulse = 1500;
  sConfigOC.OCPolarity = TIM_OCPOLARITY_HIGH;
  sConfigOC.OCFastMode = TIM_OCFAST_DISABLE;
  if (HAL_TIM_PWM_ConfigChannel(&htim11, &sConfigOC, TIM_CHANNEL_1) != HAL_OK)
  {
    Error_Handler();
  }
  HAL_TIM_MspPostInit(&htim11);

}

static void MX_USART2_UART_Init(void)
{

  huart2.Instance = USART2;
  huart2.Init.BaudRate = 115200;
  huart2.Init.WordLength = UART_WORDLENGTH_8B;
  huart2.Init.StopBits = UART_STOPBITS_1;
  huart2.Init.Parity = UART_PARITY_NONE;
  huart2.Init.Mode = UART_MODE_TX_RX;
  huart2.Init.HwFlowCtl = UART_HWCONTROL_NONE;
  huart2.Init.OverSampling = UART_OVERSAMPLING_16;
  if (HAL_UART_Init(&huart2) != HAL_OK)
  {
    Error_Handler();
  }

}

static void MX_GPIO_Init(void)
{
  GPIO_InitTypeDef GPIO_InitStruct = {0};

  /* GPIO Ports Clock Enable */
  __HAL_RCC_GPIOC_CLK_ENABLE();
  __HAL_RCC_GPIOH_CLK_ENABLE();
  __HAL_RCC_GPIOA_CLK_ENABLE();
  __HAL_RCC_GPIOB_CLK_ENABLE();

  /*Configure GPIO pin Output Level */
  HAL_GPIO_WritePin(GPIOC, GPIO_PIN_0|GPIO_PIN_1|GPIO_PIN_2|GPIO_PIN_3, GPIO_PIN_RESET);

  /*Configure GPIO pin Output Level */
  HAL_GPIO_WritePin(LD2_GPIO_Port, LD2_Pin, GPIO_PIN_RESET);

  /*Configure GPIO pin : B1_Pin */
  GPIO_InitStruct.Pin = B1_Pin;
  GPIO_InitStruct.Mode = GPIO_MODE_IT_FALLING;
  GPIO_InitStruct.Pull = GPIO_NOPULL;
  HAL_GPIO_Init(B1_GPIO_Port, &GPIO_InitStruct);

  /*Configure GPIO pins : PC0 PC1 PC2 PC3 */
  GPIO_InitStruct.Pin = GPIO_PIN_0|GPIO_PIN_1|GPIO_PIN_2|GPIO_PIN_3;
  GPIO_InitStruct.Mode = GPIO_MODE_OUTPUT_PP;
  GPIO_InitStruct.Pull = GPIO_NOPULL;
  GPIO_InitStruct.Speed = GPIO_SPEED_FREQ_LOW;
  HAL_GPIO_Init(GPIOC, &GPIO_InitStruct);

  /*Configure GPIO pin : LD2_Pin */
  GPIO_InitStruct.Pin = LD2_Pin;
  GPIO_InitStruct.Mode = GPIO_MODE_OUTPUT_PP;
  GPIO_InitStruct.Pull = GPIO_NOPULL;
  GPIO_InitStruct.Speed = GPIO_SPEED_FREQ_LOW;
  HAL_GPIO_Init(LD2_GPIO_Port, &GPIO_InitStruct);

}

void Error_Handler(void)
{
  __disable_irq();
  while (1)
  {
  }
}
